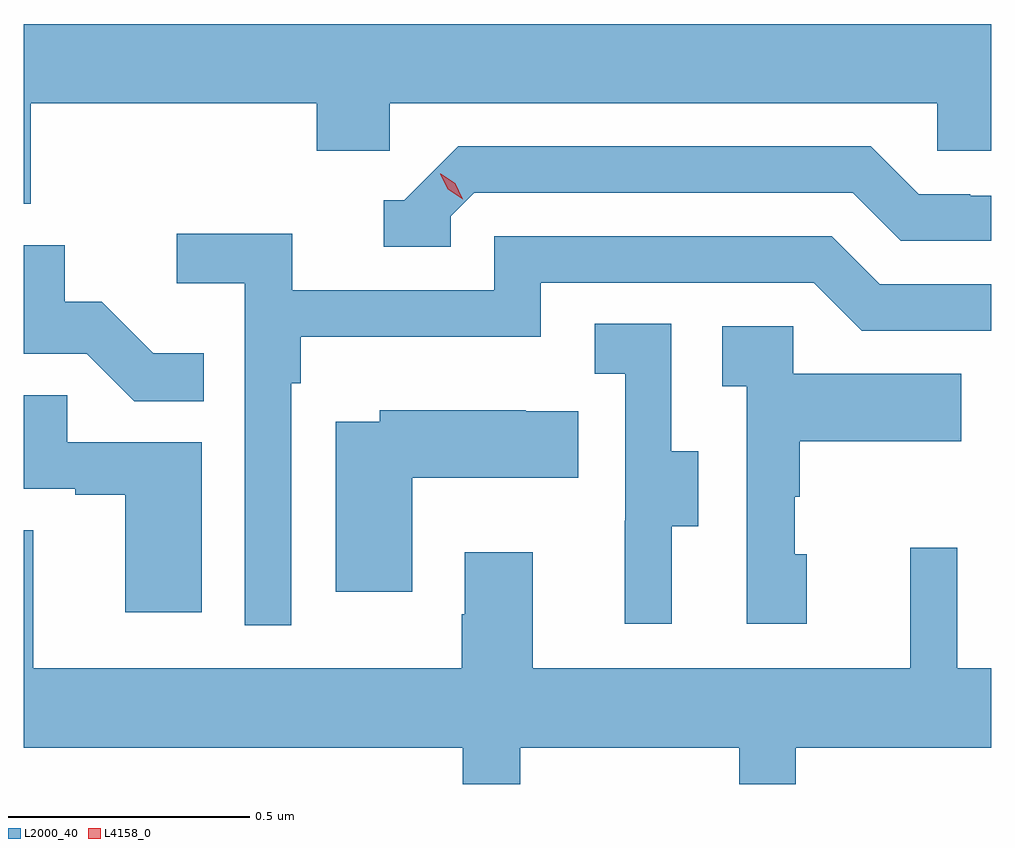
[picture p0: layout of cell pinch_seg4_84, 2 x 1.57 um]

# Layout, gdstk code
import gdstk
lib = gdstk.Library(unit=1e-6, precision=1e-09)
def P(c, l, *ps):  # polygons
    for p in ps: c.add(gdstk.Polygon(p, *l))
L2000_40 = (2000, 40)
L4158_0 = (4158, 0)

pinch_seg4_84 = lib.new_cell('pinch_seg4_84')
P(pinch_seg4_84, L2000_40, [(1056.71,826.124),(1057.301,826.124),(1057.301,826.026),(1057.452,826.026),(1057.452,826.124),(1058.583,826.124),(1058.583,826.026),(1058.695,826.026),(1058.695,826.288),(1056.695,826.288),(1056.695,825.916),(1056.71,825.916)],
  [(1057.578,825.891),(1057.626,825.939),(1058.409,825.939),(1058.508,825.84),(1058.695,825.84),(1058.695,825.933),(1058.652,825.933),(1058.652,825.936),(1058.545,825.936),(1058.446,826.035),(1057.593,826.035),(1057.482,825.924),(1057.439,825.924),(1057.439,825.828),(1057.578,825.828)],
  [(1057.248,825.545),(1057.268,825.545),(1057.268,825.641),(1057.764,825.641),(1057.764,825.753),(1058.328,825.753),(1058.427,825.654),(1058.695,825.654),(1058.695,825.75),(1058.464,825.75),(1058.365,825.849),(1057.668,825.849),(1057.668,825.738),(1057.25,825.738),(1057.25,825.854),(1057.011,825.854),(1057.011,825.752),(1057.152,825.752),(1057.152,825.045),(1057.248,825.045)],
  [(1057.067,825.607),(1056.963,825.607),(1056.856,825.714),(1056.78,825.714),(1056.78,825.831),(1056.695,825.831),(1056.695,825.606),(1056.825,825.606),(1056.923,825.508),(1057.067,825.508)],
  [(1058.035,825.25),(1058.089,825.25),(1058.089,825.405),(1058.034,825.405),(1058.034,825.668),(1057.875,825.668),(1057.875,825.565),(1057.938,825.565),(1057.938,825.261),(1057.937,825.261),(1057.937,825.048),(1058.035,825.048)],
  [(1058.314,825.192),(1058.289,825.192),(1058.289,825.311),(1058.299,825.311),(1058.299,825.425),(1058.633,825.425),(1058.633,825.565),(1058.286,825.565),(1058.286,825.663),(1058.139,825.663),(1058.139,825.539),(1058.19,825.539),(1058.19,825.048),(1058.314,825.048)],
  [(1057.063,825.423),(1056.785,825.423),(1056.785,825.521),(1056.695,825.521),(1056.695,825.327),(1056.801,825.327),(1056.801,825.315),(1056.905,825.315),(1056.905,825.072),(1057.063,825.072)],
  [(1057.498,825.35),(1057.841,825.35),(1057.841,825.487),(1057.733,825.487),(1057.733,825.49),(1057.431,825.49),(1057.431,825.466),(1057.34,825.466),(1057.34,825.114),(1057.498,825.114)],
  [(1057.721,824.792),(1058.174,824.792),(1058.174,824.717),(1058.291,824.717),(1058.291,824.792),(1058.695,824.792),(1058.695,824.956),(1058.625,824.956),(1058.625,825.205),(1058.528,825.205),(1058.528,824.956),(1057.747,824.956),(1057.747,825.196),(1057.607,825.196),(1057.607,825.068),(1057.6,825.068),(1057.6,824.956),(1056.715,824.956),(1056.715,825.242),(1056.695,825.242),(1056.695,824.792),(1057.603,824.792),(1057.603,824.717),(1057.721,824.717)])
P(pinch_seg4_84, L4158_0, [(1057.603,825.926),(1057.572,825.946),(1057.556,825.978),(1057.556,825.978),(1057.557,825.978),(1057.587,825.959),(1057.603,825.926),(1057.603,825.926)])

lib.write_gds('pinch_seg4_84.gds')
